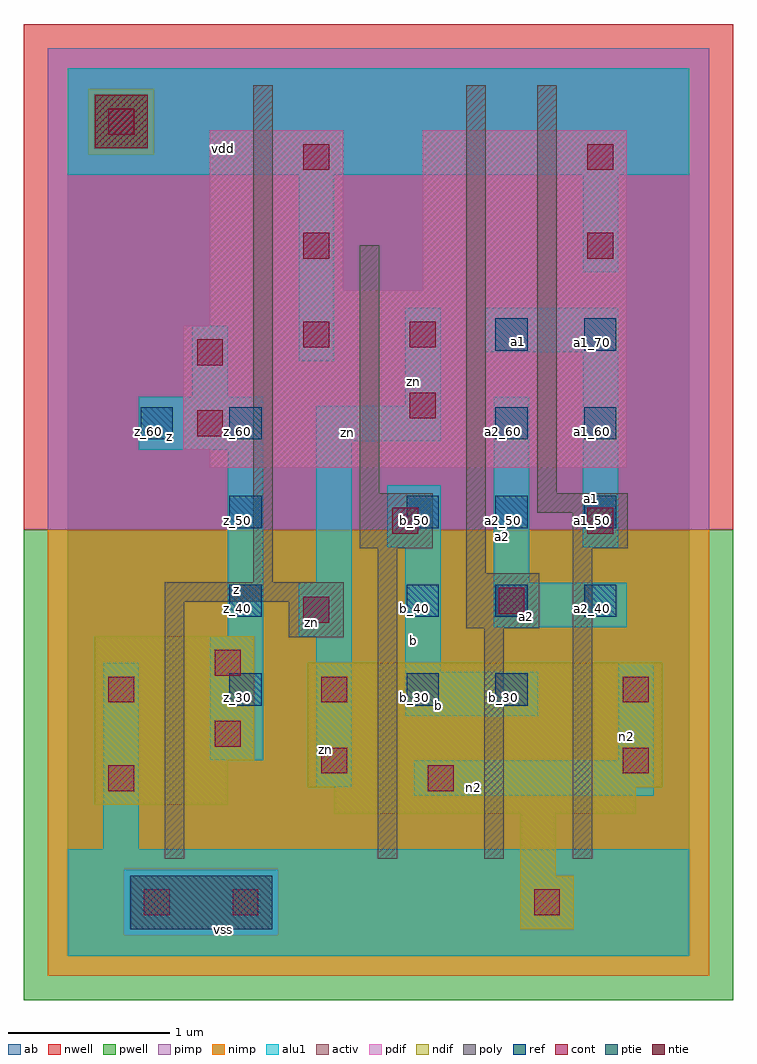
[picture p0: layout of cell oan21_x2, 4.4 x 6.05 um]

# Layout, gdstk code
import gdstk
lib = gdstk.Library(unit=1e-6, precision=2.5e-09)
def R(c, l, rs):  # rectangles x0, y0, x1, y1
    for r in rs: c.add(gdstk.rectangle(r[:2], r[2:], *l))
def A(c, l, x, y, w, h, nx, ny, dx, dy):  # array of equal rectangles
    R(c, l, [(x+i*dx, y+j*dy, x+i*dx+w, y+j*dy+h) for i in range(nx) for j in range(ny)])
ndif = (3, 0)
pdif = (4, 0)
ntie = (5, 0)
ptie = (6, 0)
ref = (24, 0)
cont = (25, 0)
pwell = (41, 0)
nwell = (42, 0)
activ = (43, 0)
pimp = (44, 0)
nimp = (45, 0)
poly = (46, 0)
alu1 = (49, 0)
ab = (63, 0)

oan21_x2 = lib.new_cell('oan21_x2')
R(oan21_x2, ndif, [(2.805,0.165,3.135,0.495), (2.805,0.495,3.025,0.88), (1.65,0.88,3.52,1.045), (0.165,0.935,0.99,1.21), (1.485,1.045,3.685,1.815), (0.165,1.21,1.155,1.98)])
R(oan21_x2, pdif, [(0.88,3.025,3.465,3.135), (0.715,3.135,3.465,3.905), (0.88,3.905,3.465,4.125), (0.88,4.125,1.705,5.115), (2.2,4.125,3.465,5.115)])
R(oan21_x2, ntie, [(0.165,5.005,0.495,5.335)])
R(oan21_x2, ptie, [(0.385,0.165,1.265,0.495)])
A(oan21_x2, ref, 1, 1.55, 0.2, 0.2, 1, 4, 0, 0.55)
A(oan21_x2, ref, 2.1, 2.1, 0.2, 0.2, 3, 2, 0.55, 0.55)
R(oan21_x2, ref, [(2.1,1.55,2.3,1.75), (2.65,1.55,2.85,1.75), (0.45,3.2,0.65,3.4), (2.65,3.2,2.85,3.4), (3.2,3.2,3.4,3.4), (2.65,3.75,2.85,3.95), (3.2,3.75,3.4,3.95)])
A(oan21_x2, cont, 1.46, 3.77, 0.16, 0.16, 1, 3, 0, 0.55)
R(oan21_x2, cont, [(0.47,0.25,0.63,0.41), (1.02,0.25,1.18,0.41), (2.89,0.25,3.05,0.41), (0.25,1.02,0.41,1.18), (2.23,1.02,2.39,1.18), (1.57,1.13,1.73,1.29), (3.44,1.13,3.6,1.29), (0.91,1.295,1.07,1.455), (0.25,1.57,0.41,1.73), (1.57,1.57,1.73,1.73), (3.44,1.57,3.6,1.73), (0.91,1.735,1.07,1.895), (1.46,2.065,1.62,2.225), (2.67,2.12,2.83,2.28), (2.01,2.615,2.17,2.775), (3.22,2.615,3.38,2.775), (0.8,3.22,0.96,3.38), (2.12,3.33,2.28,3.49), (0.8,3.66,0.96,3.82), (2.12,3.77,2.28,3.93), (3.22,4.32,3.38,4.48), (3.22,4.87,3.38,5.03), (0.25,5.09,0.41,5.25)])
R(oan21_x2, pwell, [(-0.275,-0.275,4.125,2.64)])
R(oan21_x2, nwell, [(-0.275,2.64,4.125,5.775)])
R(oan21_x2, activ, [(0.385,0.165,1.265,0.495), (2.805,0.165,3.135,0.495), (2.805,0.495,3.025,0.88), (1.65,0.88,3.52,1.045), (0.165,0.935,0.99,1.21), (1.485,1.045,3.685,1.815), (0.165,1.21,1.155,1.98), (0.88,3.025,3.465,3.135), (0.715,3.135,3.465,3.905), (0.88,3.905,3.465,4.125), (0.88,4.125,1.705,5.115), (2.2,4.125,3.465,5.115), (0.165,5.005,0.495,5.335)])
R(oan21_x2, pimp, [(0.345,0.125,1.305,0.535), (-0.125,2.64,3.975,4.965), (-0.125,4.965,0.125,5.375), (0.535,4.965,3.975,5.375), (-0.125,5.375,3.975,5.625)])
R(oan21_x2, nimp, [(-0.125,-0.125,3.975,0.125), (-0.125,0.125,0.345,0.535), (1.305,0.125,3.975,0.535), (-0.125,0.535,3.975,2.64), (0.125,4.965,0.535,5.375)])
R(oan21_x2, poly, [(0.6,0.6,0.72,2.195), (1.92,0.6,2.04,2.525), (2.58,0.6,2.7,2.03), (3.13,0.6,3.25,2.525), (1.37,1.975,1.71,2.195), (2.47,2.03,2.92,2.37), (0.6,2.195,1.71,2.315), (1.15,2.315,1.27,5.395), (2.47,2.37,2.59,5.395), (1.81,2.525,2.26,2.865), (3.13,2.525,3.47,2.745), (2.91,2.745,3.47,2.865), (1.81,2.865,1.93,4.405), (2.91,2.865,3.03,5.395)])
R(oan21_x2, alu1, [(0,0,3.85,0.66), (0.22,0.66,0.44,1.815), (2.145,0.99,3.63,1.21), (1.54,1.045,1.76,1.98), (0.88,1.21,1.21,1.98), (3.41,1.21,3.63,1.815), (2.09,1.485,2.915,1.76), (2.09,1.76,2.31,2.53), (0.99,1.98,1.21,3.135), (1.43,1.98,1.76,2.31), (2.64,2.035,3.465,2.31), (1.54,2.31,1.76,3.19), (2.64,2.31,2.86,3.465), (1.98,2.53,2.31,2.915), (3.19,2.53,3.41,3.74), (0.44,3.135,1.21,3.465), (1.54,3.19,2.31,3.41), (2.09,3.41,2.31,4.015), (0.77,3.465,0.99,3.905), (1.43,3.685,1.65,4.84), (2.585,3.74,3.41,4.015), (3.19,4.235,3.41,4.84), (0,4.84,3.85,5.5)])
R(oan21_x2, ab, [(0,0,3.85,5.5)])
oan21_x2.add(gdstk.Label('vss', (0.9625,0.165), layer=49, texttype=0))
oan21_x2.add(gdstk.Label('n2', (2.515,1.045), layer=49, texttype=0))
oan21_x2.add(gdstk.Label('n2', (3.465,1.36), layer=49, texttype=0))
oan21_x2.add(gdstk.Label('b', (2.295,1.5525), layer=49, texttype=0))
oan21_x2.add(gdstk.Label('a2', (2.845,2.1025), layer=49, texttype=0))
oan21_x2.add(gdstk.Label('a1', (3.245,2.8325), layer=49, texttype=0))
oan21_x2.add(gdstk.Label('a2', (2.695,2.5975), layer=49, texttype=0))
oan21_x2.add(gdstk.Label('b', (2.145,1.9525), layer=49, texttype=0))
oan21_x2.add(gdstk.Label('zn', (1.595,1.2775), layer=49, texttype=0))
oan21_x2.add(gdstk.Label('zn', (1.5125,2.0625), layer=49, texttype=0))
oan21_x2.add(gdstk.Label('zn', (1.7325,3.245), layer=49, texttype=0))
oan21_x2.add(gdstk.Label('z', (1.045,2.2675), layer=49, texttype=0))
oan21_x2.add(gdstk.Label('a1', (2.79,3.8075), layer=49, texttype=0))
oan21_x2.add(gdstk.Label('zn', (2.145,3.56), layer=49, texttype=0))
oan21_x2.add(gdstk.Label('z', (0.6325,3.2175), layer=49, texttype=0))
oan21_x2.add(gdstk.Label('vdd', (0.9625,5.005), layer=49, texttype=0))
oan21_x2.add(gdstk.Label('z_30', (1.05,1.6), layer=24, texttype=0))
oan21_x2.add(gdstk.Label('z_40', (1.05,2.15), layer=24, texttype=0))
oan21_x2.add(gdstk.Label('z_50', (1.05,2.7), layer=24, texttype=0))
oan21_x2.add(gdstk.Label('z_60', (1.05,3.25), layer=24, texttype=0))
oan21_x2.add(gdstk.Label('z_60', (0.5,3.25), layer=24, texttype=0))
oan21_x2.add(gdstk.Label('a2_40', (2.7,2.15), layer=24, texttype=0))
oan21_x2.add(gdstk.Label('a2_40', (3.25,2.15), layer=24, texttype=0))
oan21_x2.add(gdstk.Label('b_40', (2.15,2.15), layer=24, texttype=0))
oan21_x2.add(gdstk.Label('b_30', (2.7,1.6), layer=24, texttype=0))
oan21_x2.add(gdstk.Label('b_30', (2.15,1.6), layer=24, texttype=0))
oan21_x2.add(gdstk.Label('a1_70', (2.7,3.8), layer=24, texttype=0))
oan21_x2.add(gdstk.Label('a1_70', (3.25,3.8), layer=24, texttype=0))
oan21_x2.add(gdstk.Label('a1_60', (3.25,3.25), layer=24, texttype=0))
oan21_x2.add(gdstk.Label('b_50', (2.15,2.7), layer=24, texttype=0))
oan21_x2.add(gdstk.Label('a2_50', (2.7,2.7), layer=24, texttype=0))
oan21_x2.add(gdstk.Label('a1_50', (3.25,2.7), layer=24, texttype=0))
oan21_x2.add(gdstk.Label('a2_60', (2.7,3.25), layer=24, texttype=0))

lib.write_gds('oan21_x2.gds')
